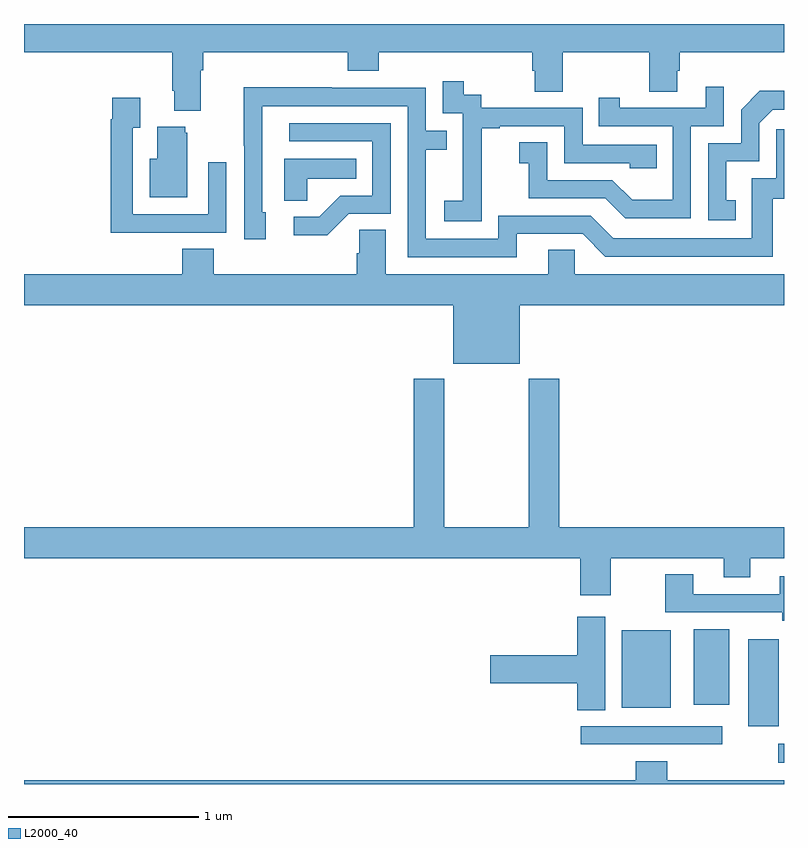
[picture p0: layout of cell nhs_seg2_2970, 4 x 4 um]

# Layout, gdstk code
import gdstk
lib = gdstk.Library(unit=1e-6, precision=1e-09)
def R(c, l, rs):  # rectangles x0, y0, x1, y1
    for r in rs: c.add(gdstk.rectangle(r[:2], r[2:], *l))
def P(c, l, *ps):  # polygons
    for p in ps: c.add(gdstk.Polygon(p, *l))
L2000_40 = (2000, 40)

nhs_seg2_2970 = lib.new_cell('nhs_seg2_2970')
R(nhs_seg2_2970, L2000_40, [(270.969,627.912,271,628.012), (269.931,628.008,270.676,628.104), (270.812,628.103,270.973,628.561), (270.146,628.202,270.403,628.609), (270.524,628.217,270.712,628.615)])
P(nhs_seg2_2970, L2000_40, [(267.931,631.556),(267.944,631.556),(267.944,631.652),(268.703,631.652),(268.703,631.553),(268.868,631.553),(268.868,631.652),(269.675,631.652),(269.675,631.554),(269.687,631.554),(269.687,631.444),(269.835,631.444),(269.835,631.652),(270.292,631.652),(270.292,631.444),(270.439,631.444),(270.439,631.554),(270.452,631.554),(270.452,631.652),(271,631.652),(271,631.8),(267,631.8),(267,631.652),(267.779,631.652),(267.779,631.45),(267.791,631.45),(267.791,631.343),(267.931,631.343)],
  [(269.409,630.967),(269.408,630.967),(269.408,631.251),(269.503,631.251),(269.503,631.263),(269.844,631.263),(269.844,631.068),(270.189,631.068),(270.189,631.041),(270.329,631.041),(270.329,631.164),(269.94,631.164),(269.94,631.359),(269.406,631.359),(269.406,631.428),(269.314,631.428),(269.314,631.498),(269.205,631.498),(269.205,631.329),(269.31,631.329),(269.31,631.1),(269.309,631.1),(269.309,630.871),(269.211,630.871),(269.211,630.761),(269.409,630.761)],
  [(270.51,631.263),(270.684,631.263),(270.684,631.471),(270.587,631.471),(270.587,631.359),(270.136,631.359),(270.136,631.411),(270.025,631.411),(270.025,631.263),(270.414,631.263),(270.414,630.874),(270.2,630.874),(270.096,630.978),(269.754,630.978),(269.754,631.177),(269.607,631.177),(269.607,631.067),(269.656,631.067),(269.656,630.882),(270.059,630.882),(270.164,630.777),(270.51,630.777)],
  [(269.593,630.696),(269.94,630.696),(270.06,630.576),(270.94,630.576),(270.94,630.879),(271,630.879),(271,631.246),(270.96,631.246),(270.96,630.987),(270.831,630.987),(270.831,630.672),(270.102,630.672),(269.982,630.792),(269.496,630.792),(269.496,630.669),(269.115,630.669),(269.115,631.138),(269.225,631.138),(269.225,631.239),(269.115,631.239),(269.115,631.464),(268.619,631.464),(268.619,631.466),(268.156,631.466),(268.156,631.159),(268.158,631.159),(268.158,630.666),(268.273,630.666),(268.273,630.81),(268.254,630.81),(268.254,631.368),(269.019,631.368),(269.019,630.573),(269.593,630.573)],
  [(270.746,630.873),(270.697,630.873),(270.697,631.077),(270.87,631.077),(270.87,631.278),(270.942,631.35),(271,631.35),(271,631.448),(270.872,631.448),(270.774,631.35),(270.774,631.173),(270.6,631.173),(270.6,630.768),(270.746,630.768)],
  [(267.749,630.702),(268.065,630.702),(268.065,631.072),(267.969,631.072),(267.969,630.798),(267.573,630.798),(267.573,631.255),(267.613,631.255),(267.613,631.411),(267.465,631.411),(267.465,631.298),(267.457,631.298),(267.457,630.701),(267.749,630.701)],
  [(268.71,630.801),(268.929,630.801),(268.929,631.278),(268.395,631.278),(268.395,631.182),(268.833,631.182),(268.833,630.897),(268.664,630.897),(268.553,630.786),(268.419,630.786),(268.419,630.689),(268.597,630.689)],
  [(267.859,631.227),(267.848,631.227),(267.848,631.258),(267.701,631.258),(267.701,631.09),(267.662,631.09),(267.662,630.887),(267.859,630.887)],
  [(268.491,630.986),(268.748,630.986),(268.748,631.09),(268.37,631.09),(268.37,630.871),(268.491,630.871)],
  [(269.608,630.32),(271,630.32),(271,630.484),(269.898,630.484),(269.898,630.611),(269.759,630.611),(269.759,630.484),(268.903,630.484),(268.903,630.716),(268.764,630.716),(268.764,630.593),(268.751,630.593),(268.751,630.484),(267.998,630.484),(267.998,630.617),(267.833,630.617),(267.833,630.484),(267,630.484),(267,630.32),(269.258,630.32),(269.258,630.011),(269.608,630.011)],
  [(269.816,629.932),(269.656,629.932),(269.656,629.152),(269.211,629.152),(269.211,629.932),(269.051,629.932),(269.051,629.152),(267,629.152),(267,628.988),(269.927,628.988),(269.927,628.794),(270.087,628.794),(270.087,628.988),(270.683,628.988),(270.683,628.889),(270.823,628.889),(270.823,628.988),(271,628.988),(271,629.152),(269.816,629.152)],
  [(271,628.894),(270.977,628.894),(270.977,628.8),(270.523,628.8),(270.523,628.903),(270.376,628.903),(270.376,628.704),(270.992,628.704),(270.992,628.658),(271,628.658)],
  [(270.058,628.681),(269.912,628.681),(269.912,628.478),(269.454,628.478),(269.454,628.331),(269.912,628.331),(269.912,628.189),(270.058,628.189)],
  [(271,627.82),(270.386,627.82),(270.386,627.919),(270.221,627.919),(270.221,627.82),(267,627.82),(267,627.8),(271,627.8)])

lib.write_gds('nhs_seg2_2970.gds')
